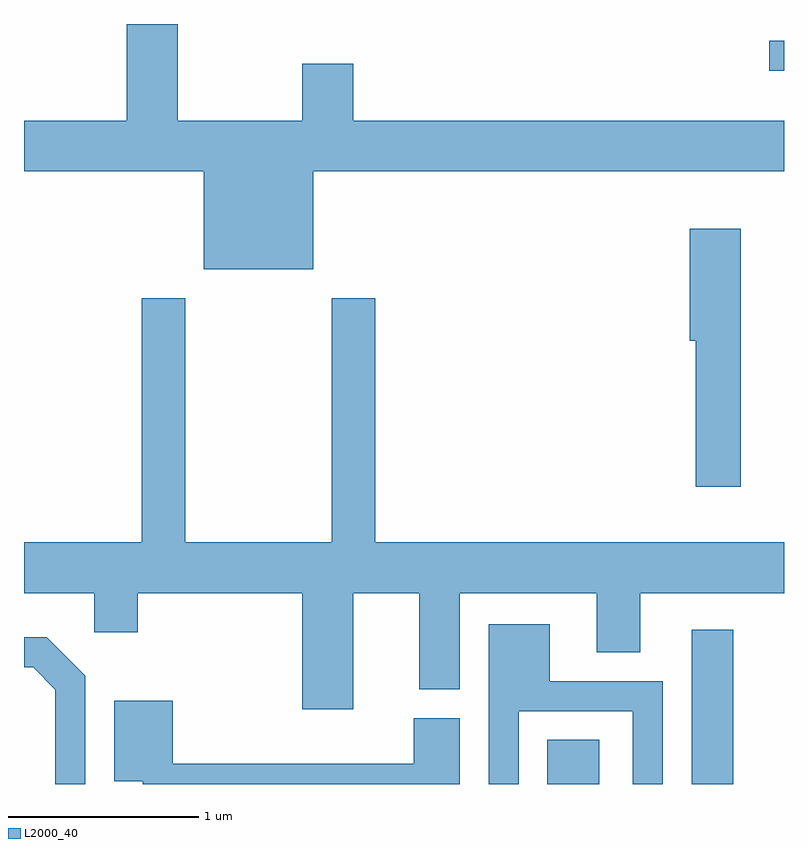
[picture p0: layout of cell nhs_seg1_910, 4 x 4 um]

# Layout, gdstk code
import gdstk
lib = gdstk.Library(unit=1e-6, precision=1e-09)
def R(c, l, rs):  # rectangles x0, y0, x1, y1
    for r in rs: c.add(gdstk.rectangle(r[:2], r[2:], *l))
def P(c, l, *ps):  # polygons
    for p in ps: c.add(gdstk.Polygon(p, *l))
L2000_40 = (2000, 40)

nhs_seg1_910 = lib.new_cell('nhs_seg1_910')
R(nhs_seg1_910, L2000_40, [(216.366,869.712,216.639,869.944), (217.126,869.712,217.344,870.524), (217.533,873.466,217.611,873.624)])
P(nhs_seg1_910, L2000_40, [(215.134,872.936),(217.611,872.936),(217.611,873.204),(215.344,873.204),(215.344,873.504),(215.076,873.504),(215.076,873.204),(214.419,873.204),(214.419,873.712),(214.151,873.712),(214.151,873.204),(213.611,873.204),(213.611,872.936),(214.556,872.936),(214.556,872.421),(215.134,872.421)],
  [(217.384,872.634),(217.116,872.634),(217.116,872.046),(217.146,872.046),(217.146,871.276),(217.384,871.276)],
  [(215.344,870.716),(215.691,870.716),(215.691,870.211),(215.904,870.211),(215.904,870.716),(216.626,870.716),(216.626,870.406),(216.854,870.406),(216.854,870.716),(217.611,870.716),(217.611,870.984),(215.459,870.984),(215.459,872.269),(215.231,872.269),(215.231,870.984),(214.459,870.984),(214.459,872.269),(214.231,872.269),(214.231,870.984),(213.611,870.984),(213.611,870.716),(213.981,870.716),(213.981,870.511),(214.209,870.511),(214.209,870.716),(215.076,870.716),(215.076,870.106),(215.344,870.106)],
  [(216.214,870.096),(216.816,870.096),(216.816,869.712),(216.974,869.712),(216.974,870.254),(216.379,870.254),(216.379,870.554),(216.056,870.554),(216.056,869.712),(216.214,869.712)],
  [(213.934,870.282),(213.732,870.484),(213.611,870.484),(213.611,870.326),(213.659,870.326),(213.776,870.209),(213.776,869.712),(213.934,869.712)],
  [(215.904,870.059),(215.661,870.059),(215.661,869.819),(214.394,869.819),(214.394,870.149),(214.086,870.149),(214.086,869.726),(214.236,869.726),(214.236,869.712),(215.904,869.712)])

lib.write_gds('nhs_seg1_910.gds')
